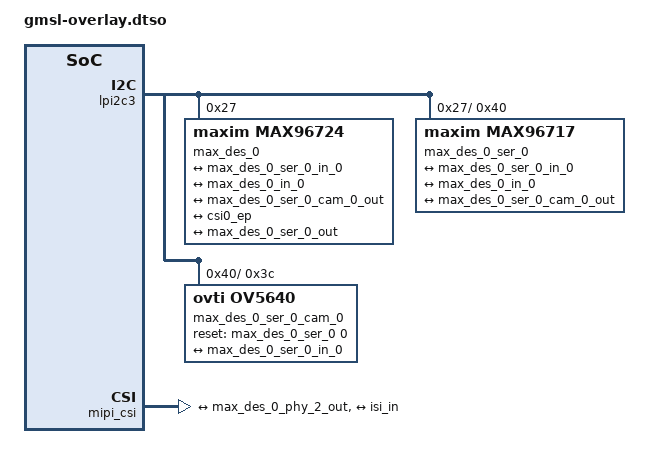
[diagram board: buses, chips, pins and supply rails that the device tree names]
/dts-v1/;
/plugin/;

&lpi2c3 {
	status = "okay";
	max_des_0: gmsl-deserializer@27 {
		#address-cells = <1>;
		#size-cells = <0>;

		compatible = "maxim,max96724";
		reg = <0x27>;

	};
};


&max_des_0 {
	i2c-alias-pool = <0x40 0x41 0x42 0x43>;

	max_des_0_i2c_adapter: i2c-atr {
		#address-cells = <1>;
		#size-cells = <0>;
	};

	ports {
		#address-cells = <1>;
		#size-cells = <0>;
	};
};

&max_des_0 {
	ports {
		port@6 {
			reg = <6>;

			max_des_0_phy_2_out: endpoint {
				clock-lanes = <0>;
				data-lanes = <1 2>;
				link-frequencies = /bits/ 64 <750000000>;
			};
		};
	};
};

&mipi_csi {
	status = "okay";

	ports {
		#address-cells = <1>;
		#size-cells = <0>;

		port@0 {
			reg = <0>;

			csi0_ep: endpoint {
				remote-endpoint = <&max_des_0_phy_2_out>;
				clock-lanes = <0>;
				data-lanes = <1 2>;
				link-frequencies = /bits/ 64 <750000000>;
				clock-noncontinuous;
			};
		};

		port@1 {
			reg = <1>;

			mipi_csi_out: endpoint {
				remote-endpoint = <&isi_in>;
			};
		};
	};
};

&max_des_0_phy_2_out {
	remote-endpoint = <&csi0_ep>;
};

&max_des_0_i2c_adapter {
	max_des_0_i2c_0: i2c@0 {
		#address-cells = <1>;
		#size-cells = <0>;
		reg = <0x0>;
	};
};

&max_des_0_i2c_0 {
	max_des_0_ser_0: gmsl-serializer@40 {
		#address-cells = <1>;
		#size-cells = <0>;
		#gpio-cells = <2>;

		compatible = "maxim,max96717";
		reg = <0x40>;

		gpio-controller;
		gpio-ranges = <&max_des_0_ser_0 0 0 11>;
	};
};

&max_des_0_ser_0 {
	i2c-alias-pool = <0x58 0x59>;

	i2c-atr {
		#address-cells = <1>;
		#size-cells = <0>;

		max_des_0_ser_0_i2c_0: i2c@0 {
			#address-cells = <1>;
			#size-cells = <0>;
			reg = <0x0>;
		};
	};

	ports {
		#address-cells = <1>;
		#size-cells = <0>;

		port@1 {
			reg = <1>;

			max_des_0_ser_0_out: endpoint {
				remote-endpoint = <&max_des_0_in_0>;
			};
		};
	};
};

&max_des_0 {
	ports {
		port@0 {
			reg = <0x0>;

			max_des_0_in_0: endpoint {
				remote-endpoint = <&max_des_0_ser_0_out>;
			};
		};
	};
};

&{/} {
	cam_0_xclk: cam_0_xclk {
		compatible = "fixed-clock";
		#clock-cells = <0>;
		clock-frequency = <24000000>;
	};
};

&max_des_0_ser_0_i2c_0 {
	max_des_0_ser_0_cam_0: ov5640@3c {
		compatible = "ovti,ov5640";
		reg = <0x3c>;

		reset-gpios = <&max_des_0_ser_0 0 0>;

		clocks = <&cam_0_xclk>;
		clock-names = "xclk";

		port {
			max_des_0_ser_0_cam_0_out: endpoint {
				clock-lanes = <0>;
				data-lanes = <1 2>;
				clock-noncontinuous;
				link-frequencies = /bits/ 64 <456000000>;
				remote-endpoint = <&max_des_0_ser_0_in_0>;
			};
		};
	};
};

&max_des_0_ser_0 {
	ports {
		port@0 {
			reg = <0>;

			max_des_0_ser_0_in_0: endpoint {
				clock-lanes = <0>;
				data-lanes = <1 2>;
				clock-noncontinuous;
				link-frequencies = /bits/ 64 <456000000>;
				remote-endpoint = <&max_des_0_ser_0_cam_0_out>;
			};
		};
	};
};
